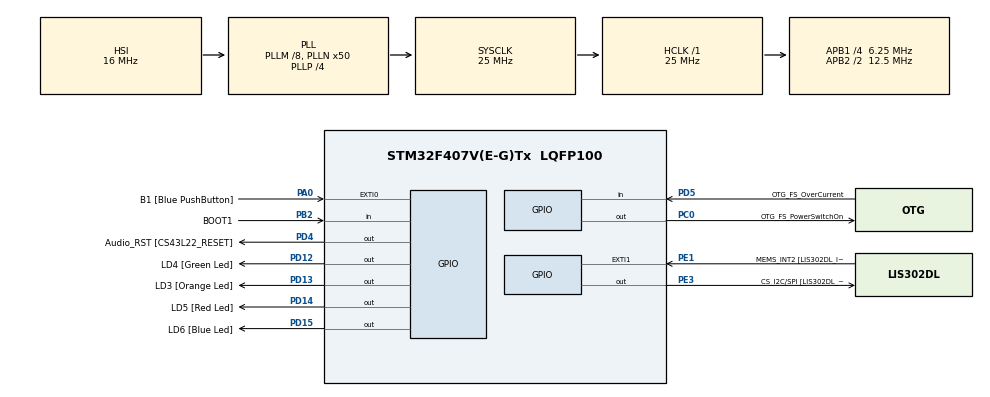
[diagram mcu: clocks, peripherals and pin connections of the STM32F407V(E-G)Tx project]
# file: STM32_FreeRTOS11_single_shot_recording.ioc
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Mcu.Family=STM32F4
Mcu.Name=STM32F407V(E-G)Tx
Mcu.Package=LQFP100
NVIC.PriorityGroup=NVIC_PRIORITYGROUP_4
NVIC.TIM6_DAC_IRQn=true\:15\:0\:false\:false\:true\:false\:true\:true
NVIC.TimeBase=TIM6_DAC_IRQn
NVIC.TimeBaseIP=TIM6
PA0-WKUP.GPIO_Label=B1 [Blue PushButton]
PA0-WKUP.Signal=GPXTI0
PA10.GPIO_Label=OTG_FS_ID
PA10.GPIO_Mode=GPIO_MODE_AF_PP
PA10.GPIO_PuPd=GPIO_NOPULL
PA10.GPIO_Speed=GPIO_SPEED_FREQ_LOW
PA10.Signal=USB_OTG_FS_ID
PA11.GPIO_Label=OTG_FS_DM
PA11.GPIO_Mode=GPIO_MODE_AF_PP
PA11.GPIO_PuPd=GPIO_NOPULL
PA11.GPIO_Speed=GPIO_SPEED_FREQ_LOW
PA11.Signal=USB_OTG_FS_DM
PA12.GPIO_Label=OTG_FS_DP
PA12.GPIO_Mode=GPIO_MODE_AF_PP
PA12.GPIO_PuPd=GPIO_NOPULL
PA12.GPIO_Speed=GPIO_SPEED_FREQ_LOW
PA12.Signal=USB_OTG_FS_DP
PA13.GPIO_Label=SWDIO
PA13.Mode=Trace_Asynchronous_SW
PA13.Signal=SYS_JTMS-SWDIO
PA14.GPIO_Label=SWCLK
PA14.Mode=Trace_Asynchronous_SW
PA14.Signal=SYS_JTCK-SWCLK
PA4.GPIO_Label=I2S3_WS [CS43L22_LRCK]
PA4.GPIO_Mode=GPIO_MODE_AF_PP
PA4.GPIO_PuPd=GPIO_NOPULL
PA4.GPIO_Speed=GPIO_SPEED_FREQ_LOW
PA4.Signal=I2S3_WS
PA5.GPIO_Label=SPI1_SCK [LIS302DL_SCL/SPC]
PA5.GPIO_Mode=GPIO_MODE_AF_PP
PA5.GPIO_PuPd=GPIO_NOPULL
PA5.GPIO_Speed=GPIO_SPEED_FREQ_LOW
PA5.Signal=SPI1_SCK
PA6.GPIO_Label=SPI1_MISO [LIS302DL_SDO]
PA6.GPIO_Mode=GPIO_MODE_AF_PP
PA6.GPIO_PuPd=GPIO_NOPULL
PA6.GPIO_Speed=GPIO_SPEED_FREQ_LOW
PA6.Signal=SPI1_MISO
PA7.GPIO_Label=SPI1_MOSI [LIS302DL_SDA/SDI/SDO]
PA7.GPIO_Mode=GPIO_MODE_AF_PP
PA7.GPIO_PuPd=GPIO_NOPULL
PA7.GPIO_Speed=GPIO_SPEED_FREQ_LOW
PA7.Signal=SPI1_MOSI
PA9.GPIO_Label=VBUS_FS
PA9.GPIO_Mode=GPIO_MODE_INPUT
PA9.GPIO_PuPd=GPIO_NOPULL
PA9.Signal=USB_OTG_FS_VBUS
PB10.GPIO_Label=CLK_IN [MP45DT02_CLK]
PB10.GPIO_Mode=GPIO_MODE_AF_PP
PB10.GPIO_PuPd=GPIO_NOPULL
PB10.GPIO_Speed=GPIO_SPEED_FREQ_LOW
PB10.Signal=I2S2_CK
PB2.GPIO_Label=BOOT1
PB2.GPIO_Mode=GPIO_MODE_INPUT
PB2.GPIO_PuPd=GPIO_NOPULL
PB2.Signal=GPIO_Input
PB3.GPIO_Label=SWO
PB3.Mode=Trace_Asynchronous_SW
PB3.Signal=SYS_JTDO-SWO
PB6.GPIO_Label=Audio_SCL [CS43L22_SCL]
PB6.GPIO_Mode=GPIO_MODE_AF_OD
PB6.GPIO_PuPd=GPIO_NOPULL
PB6.GPIO_Speed=GPIO_SPEED_FREQ_LOW
PB6.Signal=I2C1_SCL
PB9.GPIO_Label=Audio_SDA [CS43L22_SDA]
PB9.GPIO_Mode=GPIO_MODE_AF_OD
PB9.GPIO_PuPd=GPIO_NOPULL
PB9.GPIO_Speed=GPIO_SPEED_FREQ_LOW
PB9.Signal=I2C1_SDA
PC0.GPIO_Label=OTG_FS_PowerSwitchOn
PC0.GPIO_PuPd=GPIO_NOPULL
PC0.GPIO_Speed=GPIO_SPEED_FREQ_LOW
PC0.PinState=GPIO_PIN_SET
PC0.Signal=GPIO_Output
PC10.GPIO_Label=I2S3_SCK [CS43L22_SCLK]
PC10.GPIO_Mode=GPIO_MODE_AF_PP
PC10.GPIO_PuPd=GPIO_NOPULL
PC10.GPIO_Speed=GPIO_SPEED_FREQ_LOW
PC10.Signal=I2S3_CK
PC12.GPIO_Label=I2S3_SD [CS43L22_SDIN]
PC12.GPIO_Mode=GPIO_MODE_AF_PP
PC12.GPIO_PuPd=GPIO_NOPULL
PC12.GPIO_Speed=GPIO_SPEED_FREQ_LOW
PC12.Signal=I2S3_SD
PC14-OSC32_IN.GPIO_Label=PC14-OSC32_IN
PC14-OSC32_IN.Signal=RCC_OSC32_IN
PC15-OSC32_OUT.GPIO_Label=PC15-OSC32_OUT
PC15-OSC32_OUT.Signal=RCC_OSC32_OUT
PC3.GPIO_Label=PDM_OUT [MP45DT02_DOUT]
PC3.GPIO_Mode=GPIO_MODE_AF_PP
PC3.GPIO_PuPd=GPIO_NOPULL
PC3.GPIO_Speed=GPIO_SPEED_FREQ_LOW
PC3.Signal=I2S2_SD
PC7.GPIO_Label=I2S3_MCK [CS43L22_MCLK]
PC7.GPIO_Mode=GPIO_MODE_AF_PP
PC7.GPIO_PuPd=GPIO_NOPULL
PC7.GPIO_Speed=GPIO_SPEED_FREQ_LOW
PC7.Signal=I2S3_MCK
PD12.GPIO_Label=LD4 [Green Led]
PD12.GPIO_PuPd=GPIO_NOPULL
PD12.GPIO_Speed=GPIO_SPEED_FREQ_LOW
PD12.Signal=GPIO_Output
PD13.GPIO_Label=LD3 [Orange Led]
PD13.GPIO_PuPd=GPIO_NOPULL
PD13.GPIO_Speed=GPIO_SPEED_FREQ_LOW
PD13.Signal=GPIO_Output
PD14.GPIO_Label=LD5 [Red Led]
PD14.GPIO_PuPd=GPIO_NOPULL
PD14.GPIO_Speed=GPIO_SPEED_FREQ_LOW
PD14.Signal=GPIO_Output
PD15.GPIO_Label=LD6 [Blue Led]
PD15.GPIO_PuPd=GPIO_NOPULL
PD15.GPIO_Speed=GPIO_SPEED_FREQ_LOW
PD15.Signal=GPIO_Output
PD4.GPIO_Label=Audio_RST [CS43L22_RESET]
PD4.GPIO_PuPd=GPIO_NOPULL
PD4.GPIO_Speed=GPIO_SPEED_FREQ_LOW
PD4.Signal=GPIO_Output
PD5.GPIO_Label=OTG_FS_OverCurrent
PD5.GPIO_Mode=GPIO_MODE_INPUT
PD5.GPIO_PuPd=GPIO_NOPULL
PD5.Signal=GPIO_Input
PE1.GPIO_Label=MEMS_INT2 [LIS302DL_INT2]
PE1.GPIO_ModeDefaultEXTI=GPIO_MODE_EVT_RISING
PE1.GPIO_PuPd=GPIO_NOPULL
PE1.Signal=GPXTI1
PE3.GPIO_Label=CS_I2C/SPI [LIS302DL_CS_I2C/SPI]
PE3.GPIO_PuPd=GPIO_NOPULL
PE3.GPIO_Speed=GPIO_SPEED_FREQ_LOW
PE3.Signal=GPIO_Output
PH0-OSC_IN.GPIO_Label=PH0-OSC_IN
PH0-OSC_IN.Signal=RCC_OSC_IN
PH1-OSC_OUT.GPIO_Label=PH1-OSC_OUT
PH1-OSC_OUT.Signal=RCC_OSC_OUT
ProjectManager.HeapSize=0x200
ProjectManager.StackSize=0x400
ProjectManager.TargetToolchain=STM32CubeIDE
RCC.48MHZClocksFreq_Value=14285714.285714285
RCC.AHBFreq_Value=25000000
RCC.APB1CLKDivider=RCC_HCLK_DIV4
RCC.APB1Freq_Value=6250000
RCC.APB1TimFreq_Value=12500000
RCC.APB2CLKDivider=RCC_HCLK_DIV2
RCC.APB2Freq_Value=12500000
RCC.APB2TimFreq_Value=25000000
RCC.CortexFreq_Value=25000000
RCC.HCLKFreq_Value=25000000
RCC.HSE_VALUE=8000000
RCC.HSI_VALUE=16000000
RCC.LSE_VALUE=32768
RCC.PLLM=8
RCC.PLLN=50
RCC.PLLP=RCC_PLLP_DIV4
RCC.PLLQ=7
RCC.SYSCLKFreq_VALUE=25000000
RCC.SYSCLKSource=RCC_SYSCLKSOURCE_PLLCLK
RCC.VCOOutputFreq_Value=100000000
VP_SYS_VS_tim6.Mode=TIM6
board=STM32F407G-DISC1

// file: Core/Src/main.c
/* USER CODE BEGIN Header */
/**
  ******************************************************************************
  * @file           : main.c
  * @brief          : Main program body
  ******************************************************************************
  * @attention
  *
  * Copyright (c) 2024 STMicroelectronics.
  * All rights reserved.
  *
  * This software is licensed under terms that can be found in the LICENSE file
  * in the root directory of this software component.
  * If no LICENSE file comes with this software, it is provided AS-IS.
  *
  ******************************************************************************
  */
/* USER CODE END Header */
#include "main.h"

/* USER CODE BEGIN Includes */
#include "FreeRTOS.h"
#include "task.h"
#include <stdio.h>
/* USER CODE END Includes */

/* USER CODE BEGIN PV */
#define DWT_CTRL    (*(volatile uint32_t*)0xE0001000)
/* USER CODE END PV */

void SystemClock_Config(void);
static void MX_GPIO_Init(void);
/* USER CODE BEGIN PFP */
static void task1_handler(void* parameters);
static void task2_handler(void* parameters);
/* USER CODE END PFP */

int main(void)
{

  /* USER CODE BEGIN 1 */
  TaskHandle_t task1_handle;
  TaskHandle_t task2_handle;
  BaseType_t status;
  /* USER CODE END 1 */

  /* MCU Configuration--------------------------------------------------------*/

  /* Reset of all peripherals, Initializes the Flash interface and the Systick. */
  HAL_Init();

  /* Configure the system clock */
  SystemClock_Config();

  /* Initialize all configured peripherals */
  MX_GPIO_Init();
  /* USER CODE BEGIN 2 */
  DWT_CTRL |= (1 << 0);
  SEGGER_SYSVIEW_Conf();
  SEGGER_SYSVIEW_Start();

  status = xTaskCreate(task1_handler, "Task-1", 200, "Hello world from Task-1", 2, &task1_handle);
  configASSERT(status == pdPASS);

  status = xTaskCreate(task2_handler, "Task-2", 200, "Hello world from Task-2", 2, &task2_handle);
  configASSERT(status == pdPASS);

  //start the freeRTOS scheduler
  vTaskStartScheduler();
  /* USER CODE END 2 */

  /* Infinite loop */
  while (1)
  {

  }
}

void SystemClock_Config(void)
{
  RCC_OscInitTypeDef RCC_OscInitStruct = {0};
  RCC_ClkInitTypeDef RCC_ClkInitStruct = {0};

  /** Configure the main internal regulator output voltage
  */
  __HAL_RCC_PWR_CLK_ENABLE();
  __HAL_PWR_VOLTAGESCALING_CONFIG(PWR_REGULATOR_VOLTAGE_SCALE1);

  /** Initializes the RCC Oscillators according to the specified parameters
  * in the RCC_OscInitTypeDef structure.
  */
  RCC_OscInitStruct.OscillatorType = RCC_OSCILLATORTYPE_HSI;
  RCC_OscInitStruct.HSIState = RCC_HSI_ON;
  RCC_OscInitStruct.HSICalibrationValue = RCC_HSICALIBRATION_DEFAULT;
  RCC_OscInitStruct.PLL.PLLState = RCC_PLL_ON;
  RCC_OscInitStruct.PLL.PLLSource = RCC_PLLSOURCE_HSI;
  RCC_OscInitStruct.PLL.PLLM = 8;
  RCC_OscInitStruct.PLL.PLLN = 50;
  RCC_OscInitStruct.PLL.PLLP = RCC_PLLP_DIV4;
  RCC_OscInitStruct.PLL.PLLQ = 7;
  if (HAL_RCC_OscConfig(&RCC_OscInitStruct) != HAL_OK)
  {
    Error_Handler();
  }

  /** Initializes the CPU, AHB and APB buses clocks
  */
  RCC_ClkInitStruct.ClockType = RCC_CLOCKTYPE_HCLK|RCC_CLOCKTYPE_SYSCLK
                              |RCC_CLOCKTYPE_PCLK1|RCC_CLOCKTYPE_PCLK2;
  RCC_ClkInitStruct.SYSCLKSource = RCC_SYSCLKSOURCE_PLLCLK;
  RCC_ClkInitStruct.AHBCLKDivider = RCC_SYSCLK_DIV1;
  RCC_ClkInitStruct.APB1CLKDivider = RCC_HCLK_DIV4;
  RCC_ClkInitStruct.APB2CLKDivider = RCC_HCLK_DIV2;

  if (HAL_RCC_ClockConfig(&RCC_ClkInitStruct, FLASH_LATENCY_0) != HAL_OK)
  {
    Error_Handler();
  }
}

static void MX_GPIO_Init(void)
{
  GPIO_InitTypeDef GPIO_InitStruct = {0};

  /* GPIO Ports Clock Enable */
  __HAL_RCC_GPIOE_CLK_ENABLE();
  __HAL_RCC_GPIOC_CLK_ENABLE();
  __HAL_RCC_GPIOH_CLK_ENABLE();
  __HAL_RCC_GPIOA_CLK_ENABLE();
  __HAL_RCC_GPIOB_CLK_ENABLE();
  __HAL_RCC_GPIOD_CLK_ENABLE();

  /*Configure GPIO pin Output Level */
  HAL_GPIO_WritePin(CS_I2C_SPI_GPIO_Port, CS_I2C_SPI_Pin, GPIO_PIN_RESET);

  /*Configure GPIO pin Output Level */
  HAL_GPIO_WritePin(OTG_FS_PowerSwitchOn_GPIO_Port, OTG_FS_PowerSwitchOn_Pin, GPIO_PIN_SET);

  /*Configure GPIO pin Output Level */
  HAL_GPIO_WritePin(GPIOD, LD4_Pin|LD3_Pin|LD5_Pin|LD6_Pin
                          |Audio_RST_Pin, GPIO_PIN_RESET);

  /*Configure GPIO pin : CS_I2C_SPI_Pin */
  GPIO_InitStruct.Pin = CS_I2C_SPI_Pin;
  GPIO_InitStruct.Mode = GPIO_MODE_OUTPUT_PP;
  GPIO_InitStruct.Pull = GPIO_NOPULL;
  GPIO_InitStruct.Speed = GPIO_SPEED_FREQ_LOW;
  HAL_GPIO_Init(CS_I2C_SPI_GPIO_Port, &GPIO_InitStruct);

  /*Configure GPIO pin : OTG_FS_PowerSwitchOn_Pin */
  GPIO_InitStruct.Pin = OTG_FS_PowerSwitchOn_Pin;
  GPIO_InitStruct.Mode = GPIO_MODE_OUTPUT_PP;
  GPIO_InitStruct.Pull = GPIO_NOPULL;
  GPIO_InitStruct.Speed = GPIO_SPEED_FREQ_LOW;
  HAL_GPIO_Init(OTG_FS_PowerSwitchOn_GPIO_Port, &GPIO_InitStruct);

  /*Configure GPIO pin : PDM_OUT_Pin */
  GPIO_InitStruct.Pin = PDM_OUT_Pin;
  GPIO_InitStruct.Mode = GPIO_MODE_AF_PP;
  GPIO_InitStruct.Pull = GPIO_NOPULL;
  GPIO_InitStruct.Speed = GPIO_SPEED_FREQ_LOW;
  GPIO_InitStruct.Alternate = GPIO_AF5_SPI2;
  HAL_GPIO_Init(PDM_OUT_GPIO_Port, &GPIO_InitStruct);

  /*Configure GPIO pin : B1_Pin */
  GPIO_InitStruct.Pin = B1_Pin;
  GPIO_InitStruct.Mode = GPIO_MODE_IT_RISING;
  GPIO_InitStruct.Pull = GPIO_NOPULL;
  HAL_GPIO_Init(B1_GPIO_Port, &GPIO_InitStruct);

  /*Configure GPIO pin : I2S3_WS_Pin */
  GPIO_InitStruct.Pin = I2S3_WS_Pin;
  GPIO_InitStruct.Mode = GPIO_MODE_AF_PP;
  GPIO_InitStruct.Pull = GPIO_NOPULL;
  GPIO_InitStruct.Speed = GPIO_SPEED_FREQ_LOW;
  GPIO_InitStruct.Alternate = GPIO_AF6_SPI3;
  HAL_GPIO_Init(I2S3_WS_GPIO_Port, &GPIO_InitStruct);

  /*Configure GPIO pins : SPI1_SCK_Pin SPI1_MISO_Pin SPI1_MOSI_Pin */
  GPIO_InitStruct.Pin = SPI1_SCK_Pin|SPI1_MISO_Pin|SPI1_MOSI_Pin;
  GPIO_InitStruct.Mode = GPIO_MODE_AF_PP;
  GPIO_InitStruct.Pull = GPIO_NOPULL;
  GPIO_InitStruct.Speed = GPIO_SPEED_FREQ_LOW;
  GPIO_InitStruct.Alternate = GPIO_AF5_SPI1;
  HAL_GPIO_Init(GPIOA, &GPIO_InitStruct);

  /*Configure GPIO pin : BOOT1_Pin */
  GPIO_InitStruct.Pin = BOOT1_Pin;
  GPIO_InitStruct.Mode = GPIO_MODE_INPUT;
  GPIO_InitStruct.Pull = GPIO_NOPULL;
  HAL_GPIO_Init(BOOT1_GPIO_Port, &GPIO_InitStruct);

  /*Configure GPIO pin : CLK_IN_Pin */
  GPIO_InitStruct.Pin = CLK_IN_Pin;
  GPIO_InitStruct.Mode = GPIO_MODE_AF_PP;
  GPIO_InitStruct.Pull = GPIO_NOPULL;
  GPIO_InitStruct.Speed = GPIO_SPEED_FREQ_LOW;
  GPIO_InitStruct.Alternate = GPIO_AF5_SPI2;
  HAL_GPIO_Init(CLK_IN_GPIO_Port, &GPIO_InitStruct);

  /*Configure GPIO pins : LD4_Pin LD3_Pin LD5_Pin LD6_Pin
                           Audio_RST_Pin */
  GPIO_InitStruct.Pin = LD4_Pin|LD3_Pin|LD5_Pin|LD6_Pin
                          |Audio_RST_Pin;
  GPIO_InitStruct.Mode = GPIO_MODE_OUTPUT_PP;
  GPIO_InitStruct.Pull = GPIO_NOPULL;
  GPIO_InitStruct.Speed = GPIO_SPEED_FREQ_LOW;
  HAL_GPIO_Init(GPIOD, &GPIO_InitStruct);

  /*Configure GPIO pins : I2S3_MCK_Pin I2S3_SCK_Pin I2S3_SD_Pin */
  GPIO_InitStruct.Pin = I2S3_MCK_Pin|I2S3_SCK_Pin|I2S3_SD_Pin;
  GPIO_InitStruct.Mode = GPIO_MODE_AF_PP;
  GPIO_InitStruct.Pull = GPIO_NOPULL;
  GPIO_InitStruct.Speed = GPIO_SPEED_FREQ_LOW;
  GPIO_InitStruct.Alternate = GPIO_AF6_SPI3;
  HAL_GPIO_Init(GPIOC, &GPIO_InitStruct);

  /*Configure GPIO pin : VBUS_FS_Pin */
  GPIO_InitStruct.Pin = VBUS_FS_Pin;
  GPIO_InitStruct.Mode = GPIO_MODE_INPUT;
  GPIO_InitStruct.Pull = GPIO_NOPULL;
  HAL_GPIO_Init(VBUS_FS_GPIO_Port, &GPIO_InitStruct);

  /*Configure GPIO pins : OTG_FS_ID_Pin OTG_FS_DM_Pin OTG_FS_DP_Pin */
  GPIO_InitStruct.Pin = OTG_FS_ID_Pin|OTG_FS_DM_Pin|OTG_FS_DP_Pin;
  GPIO_InitStruct.Mode = GPIO_MODE_AF_PP;
  GPIO_InitStruct.Pull = GPIO_NOPULL;
  GPIO_InitStruct.Speed = GPIO_SPEED_FREQ_LOW;
  GPIO_InitStruct.Alternate = GPIO_AF10_OTG_FS;
  HAL_GPIO_Init(GPIOA, &GPIO_InitStruct);

  /*Configure GPIO pin : OTG_FS_OverCurrent_Pin */
  GPIO_InitStruct.Pin = OTG_FS_OverCurrent_Pin;
  GPIO_InitStruct.Mode = GPIO_MODE_INPUT;
  GPIO_InitStruct.Pull = GPIO_NOPULL;
  HAL_GPIO_Init(OTG_FS_OverCurrent_GPIO_Port, &GPIO_InitStruct);

  /*Configure GPIO pins : Audio_SCL_Pin Audio_SDA_Pin */
  GPIO_InitStruct.Pin = Audio_SCL_Pin|Audio_SDA_Pin;
  GPIO_InitStruct.Mode = GPIO_MODE_AF_OD;
  GPIO_InitStruct.Pull = GPIO_NOPULL;
  GPIO_InitStruct.Speed = GPIO_SPEED_FREQ_LOW;
  GPIO_InitStruct.Alternate = GPIO_AF4_I2C1;
  HAL_GPIO_Init(GPIOB, &GPIO_InitStruct);

  /*Configure GPIO pin : MEMS_INT2_Pin */
  GPIO_InitStruct.Pin = MEMS_INT2_Pin;
  GPIO_InitStruct.Mode = GPIO_MODE_EVT_RISING;
  GPIO_InitStruct.Pull = GPIO_NOPULL;
  HAL_GPIO_Init(MEMS_INT2_GPIO_Port, &GPIO_InitStruct);

}

/* USER CODE BEGIN 4 */
static void task1_handler(void* parameters){
  while(1){
    printf("%s\n",(char*)parameters);
    //taskYIELD();
  }
}

static void task2_handler(void* parameters){
  while(1){
    printf("%s\n",(char*)parameters);
    //taskYIELD();
  }
}
/* USER CODE END 4 */

void HAL_TIM_PeriodElapsedCallback(TIM_HandleTypeDef *htim)
{
  if (htim->Instance == TIM6) {
    HAL_IncTick();
  }
}

void Error_Handler(void)
{
  __disable_irq();
  while (1)
  {
  }
}
